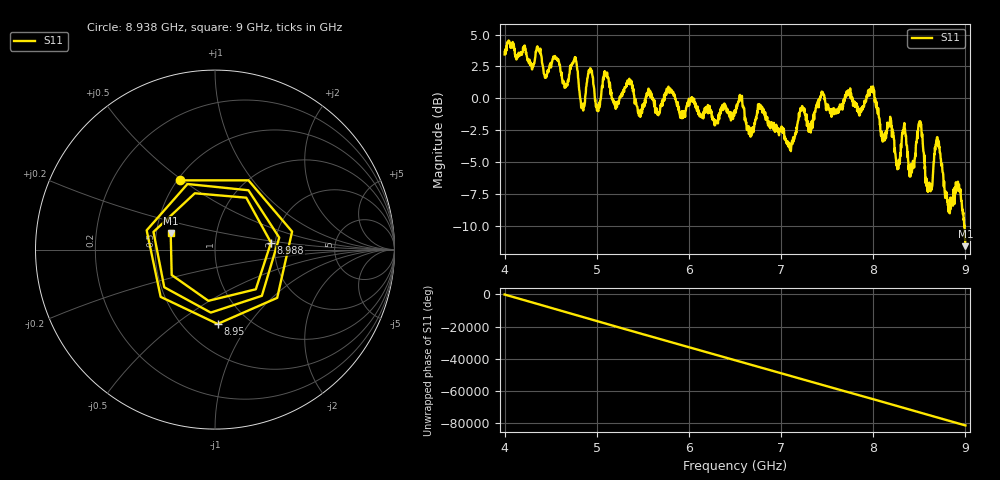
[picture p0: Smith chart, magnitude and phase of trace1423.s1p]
! Created with skrf 1.8.0 (http://scikit-rf.org).
# Hz S RI R 50.0
!freq ReS11 ImS11
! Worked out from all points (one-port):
!   1601 points, 4 GHz to 9 GHz, reference 50 ohm
!   lowest |S11| = -11.6 dB at 9 GHz (marker M1), VSWR 1.71, Z = 29.8 + j5.86 ohm
!   |S11| at or under -10 dB: 8.987659 GHz to 8.990068 GHz (2.409 MHz wide, 0.0268 % of centre); 8.991085 GHz to end of sweep
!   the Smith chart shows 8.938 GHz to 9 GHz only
!   S11 on the Smith chart (normalised r, x): 8.938 GHz: 0.52, +0.49; 8.95 GHz: 0.72, -0.73; 8.988 GHz: 1.90, +0.16; 9 GHz: 0.60, +0.12
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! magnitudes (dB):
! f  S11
! 4 GHz  3.4
! 4.625 GHz  1.5
! 4.756 GHz  3.0
! 4.847 GHz  -0.8
! 4.928 GHz  2.4
! 5.003 GHz  -1.0
! 5.094 GHz  1.9
! 5.25 GHz  0.1
! 5.875 GHz  -0.6
! 6.5 GHz  -1.1
! 7.125 GHz  -3.6
! 7.228 GHz  -0.6
! 7.75 GHz  0.8
! 7.988 GHz  0.6
! 8.103 GHz  -3.4
! 8.191 GHz  -1.7
! 8.266 GHz  -5.4
! 8.334 GHz  -2.2
! 8.375 GHz  -4.2
! 8.419 GHz  -5.8
! 8.509 GHz  -1.9
! 8.6 GHz  -7.1
! 8.694 GHz  -3.0
! 8.819 GHz  -8.9
! 8.938 GHz  -7.3
! 8.95 GHz  -7.7
! 8.988 GHz  -10.1
! 9 GHz  -11.6
